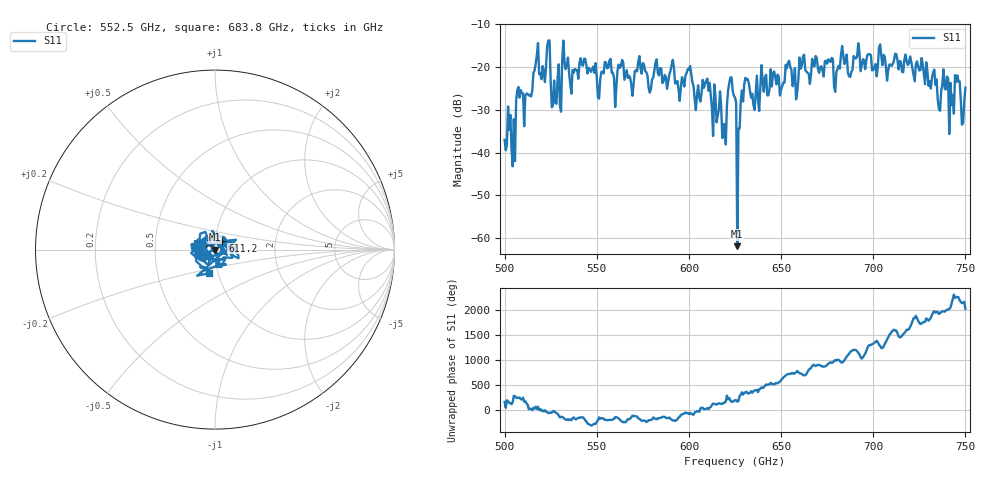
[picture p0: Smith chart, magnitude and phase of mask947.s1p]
!Created with skrf (http://scikit-rf.org).
# GHz S MA R 50.0
!freq magS11 angS11
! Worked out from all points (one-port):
!   401 points, 500 GHz to 750 GHz, reference 50 ohm
!   lowest |S11| = -61.9 dB at 626.2 GHz (marker M1), VSWR 1.00, Z = 49.9 + j0.0118 ohm
!   |S11| at or under -10 dB: start of sweep to end of sweep
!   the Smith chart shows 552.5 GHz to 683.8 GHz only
!   S11 on the Smith chart (normalised r, x): 552.5 GHz: 0.85, -0.06; 611.2 GHz: 1.08, +0.11; 683.8 GHz: 0.90, -0.24
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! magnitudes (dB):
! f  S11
! 500 GHz  -37.0
! 505 GHz  -32.2
! 507.5 GHz  -24.7
! 511.9 GHz  -26.2
! 516.9 GHz  -19.2
! 523.8 GHz  -13.8
! 526.9 GHz  -23.2
! 531.2 GHz  -18.4
! 552.5 GHz  -21.1
! 562.5 GHz  -20.2
! 593.8 GHz  -23.2
! 600 GHz  -20.6
! 604.4 GHz  -26.6
! 611.2 GHz  -23.7
! 619.4 GHz  -33.3
! 623.1 GHz  -22.4
! 624.4 GHz  -26.7
! 625 GHz  -27.1
! 626.2 GHz  -61.9
! 631.2 GHz  -23.0
! 635 GHz  -28.9
! 656.2 GHz  -24.5
! 680 GHz  -21.2
! 683.8 GHz  -17.4
! 687.5 GHz  -22.3
! 691.2 GHz  -17.6
! 718.8 GHz  -19.5
! 750 GHz  -24.8
